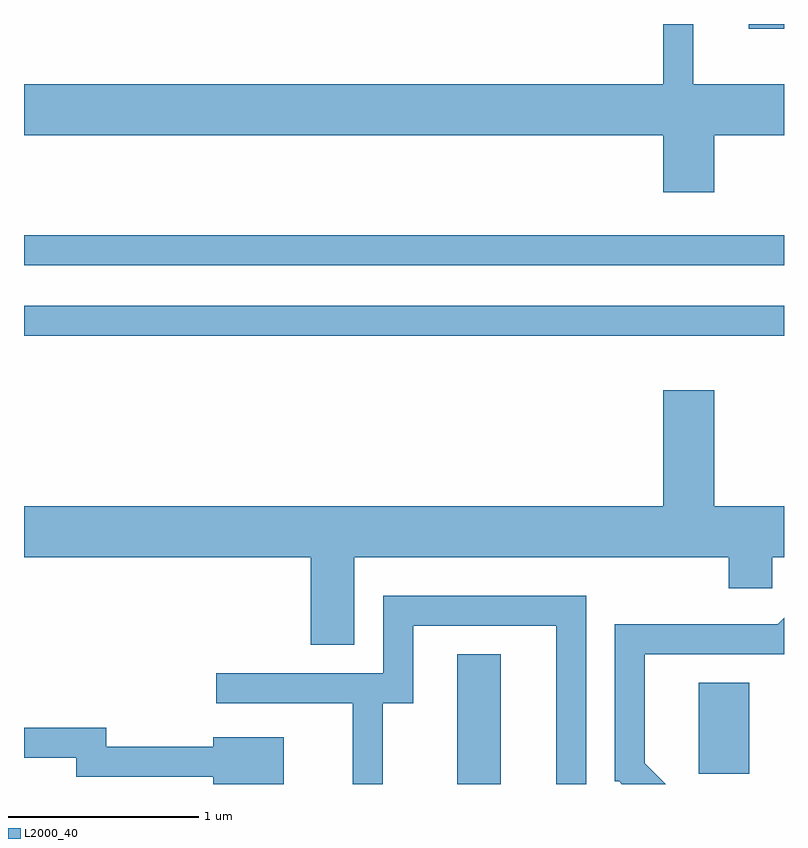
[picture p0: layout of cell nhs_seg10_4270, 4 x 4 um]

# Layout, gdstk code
import gdstk
lib = gdstk.Library(unit=1e-6, precision=1e-09)
def R(c, l, rs):  # rectangles x0, y0, x1, y1
    for r in rs: c.add(gdstk.rectangle(r[:2], r[2:], *l))
def P(c, l, *ps):  # polygons
    for p in ps: c.add(gdstk.Polygon(p, *l))
L2000_40 = (2000, 40)

nhs_seg10_4270 = lib.new_cell('nhs_seg10_4270')
R(nhs_seg10_4270, L2000_40, [(313.891,2090.522,314.119,2091.204), (315.161,2090.576,315.429,2091.054), (311.611,2092.881,315.611,2093.039), (311.611,2093.251,315.611,2093.409), (315.426,2094.496,315.611,2094.522)])
P(nhs_seg10_4270, L2000_40, [(315.244,2093.936),(315.611,2093.936),(315.611,2094.204),(315.134,2094.204),(315.134,2094.522),(314.976,2094.522),(314.976,2094.204),(311.611,2094.204),(311.611,2093.936),(314.976,2093.936),(314.976,2093.636),(315.244,2093.636)],
  [(313.349,2091.716),(315.321,2091.716),(315.321,2091.551),(315.549,2091.551),(315.549,2091.716),(315.611,2091.716),(315.611,2091.984),(315.244,2091.984),(315.244,2092.594),(314.976,2092.594),(314.976,2091.984),(311.611,2091.984),(311.611,2091.716),(313.121,2091.716),(313.121,2091.256),(313.349,2091.256)],
  [(313.499,2090.946),(313.659,2090.946),(313.659,2091.356),(314.411,2091.356),(314.411,2090.522),(314.569,2090.522),(314.569,2091.514),(313.501,2091.514),(313.501,2091.104),(312.623,2091.104),(312.623,2090.946),(313.341,2090.946),(313.341,2090.522),(313.499,2090.522)],
  [(314.879,2090.632),(314.879,2091.206),(315.611,2091.206),(315.611,2091.396),(315.579,2091.364),(314.721,2091.364),(314.721,2090.536),(314.744,2090.536),(314.758,2090.522),(314.989,2090.522)],
  [(312.979,2090.769),(312.606,2090.769),(312.606,2090.719),(312.044,2090.719),(312.044,2090.819),(311.611,2090.819),(311.611,2090.661),(311.886,2090.661),(311.886,2090.561),(312.606,2090.561),(312.606,2090.522),(312.979,2090.522)])

lib.write_gds('nhs_seg10_4270.gds')
